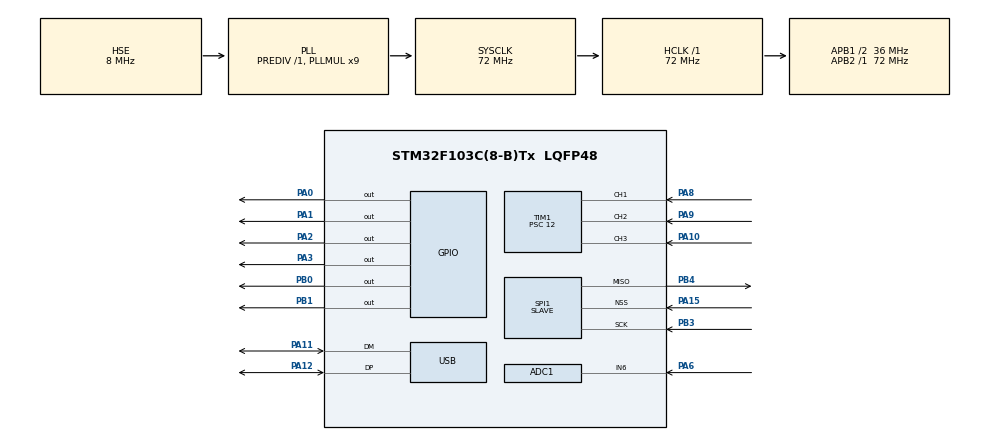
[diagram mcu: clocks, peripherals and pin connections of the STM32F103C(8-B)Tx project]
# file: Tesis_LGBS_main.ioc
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ADC1.Channel-0\#ChannelRegularConversion=ADC_CHANNEL_6
ADC1.ContinuousConvMode=DISABLE
ADC1.ExternalTrigConv=ADC_EXTERNALTRIGCONV_T3_TRGO
ADC1.NbrOfConversion=1
ADC1.NbrOfConversionFlag=1
ADC1.Rank-0\#ChannelRegularConversion=1
ADC1.SamplingTime-0\#ChannelRegularConversion=ADC_SAMPLETIME_1CYCLE_5
ADC1.master=1
Dma.Request0=SPI1_TX
Dma.SPI1_TX.0.Direction=DMA_MEMORY_TO_PERIPH
Dma.SPI1_TX.0.Instance=DMA1_Channel3
Dma.SPI1_TX.0.MemDataAlignment=DMA_MDATAALIGN_HALFWORD
Dma.SPI1_TX.0.MemInc=DMA_MINC_DISABLE
Dma.SPI1_TX.0.Mode=DMA_CIRCULAR
Dma.SPI1_TX.0.PeriphDataAlignment=DMA_PDATAALIGN_HALFWORD
Dma.SPI1_TX.0.PeriphInc=DMA_PINC_DISABLE
Dma.SPI1_TX.0.Priority=DMA_PRIORITY_LOW
Mcu.Family=STM32F1
Mcu.Name=STM32F103C(8-B)Tx
Mcu.Package=LQFP48
NVIC.ADC1_2_IRQn=true\:0\:0\:false\:false\:true\:true\:true\:true
NVIC.DMA1_Channel3_IRQn=true\:0\:0\:false\:false\:true\:false\:true\:true
NVIC.PriorityGroup=NVIC_PRIORITYGROUP_4
NVIC.SPI1_IRQn=true\:0\:0\:false\:false\:true\:true\:true\:true
NVIC.TIM1_CC_IRQn=true\:0\:0\:false\:false\:true\:true\:true\:true
NVIC.TIM1_TRG_COM_IRQn=true\:0\:0\:false\:false\:true\:true\:true\:true
NVIC.TIM1_UP_IRQn=true\:0\:0\:false\:false\:true\:true\:true\:true
NVIC.TIM4_IRQn=true\:0\:0\:false\:false\:true\:true\:true\:true
NVIC.USB_LP_CAN1_RX0_IRQn=true\:0\:0\:false\:false\:true\:false\:true\:true
PA0-WKUP.GPIO_PuPd=GPIO_PULLUP
PA0-WKUP.Signal=GPIO_Output
PA1.GPIO_PuPd=GPIO_PULLUP
PA1.GPIO_Speed=GPIO_SPEED_FREQ_HIGH
PA1.Signal=GPIO_Output
PA10.GPIO_PuPd=GPIO_PULLUP
PA10.Signal=S_TIM1_CH3
PA11.Mode=Device
PA11.Signal=USB_DM
PA12.Mode=Device
PA12.Signal=USB_DP
PA13.Mode=Serial_Wire
PA13.Signal=SYS_JTMS-SWDIO
PA14.Mode=Serial_Wire
PA14.Signal=SYS_JTCK-SWCLK
PA15.Mode=NSS_Signal_Hard_Input
PA15.Signal=SPI1_NSS
PA2.GPIO_PuPd=GPIO_PULLUP
PA2.GPIO_Speed=GPIO_SPEED_FREQ_HIGH
PA2.Signal=GPIO_Output
PA3.GPIO_PuPd=GPIO_PULLUP
PA3.GPIO_Speed=GPIO_SPEED_FREQ_HIGH
PA3.Signal=GPIO_Output
PA6.Signal=ADCx_IN6
PA8.GPIO_PuPd=GPIO_PULLUP
PA8.Signal=S_TIM1_CH1
PA9.GPIO_PuPd=GPIO_PULLUP
PA9.Signal=S_TIM1_CH2
PB0.Signal=GPIO_Output
PB1.Signal=GPIO_Output
PB12.Signal=SPI2_NSS
PB13.Signal=SPI2_SCK
PB14.Signal=SPI2_MISO
PB15.Signal=SPI2_MOSI
PB3.Mode=TX_Only_Simplex_Unidirect_Slave
PB3.Signal=SPI1_SCK
PB4.Mode=TX_Only_Simplex_Unidirect_Slave
PB4.Signal=SPI1_MISO
PB5.Signal=SPI1_MOSI
PB8.Signal=CAN_RX
PB9.Signal=CAN_TX
PD0-OSC_IN.Mode=HSE-External-Oscillator
PD0-OSC_IN.Signal=RCC_OSC_IN
PD1-OSC_OUT.Mode=HSE-External-Oscillator
PD1-OSC_OUT.Signal=RCC_OSC_OUT
ProjectManager.HeapSize=0x200
ProjectManager.StackSize=0x400
ProjectManager.TargetToolchain=STM32CubeIDE
RCC.ADCPresc=RCC_ADCPCLK2_DIV6
RCC.AHBFreq_Value=72000000
RCC.APB1CLKDivider=RCC_HCLK_DIV2
RCC.APB1Freq_Value=36000000
RCC.APB1TimFreq_Value=72000000
RCC.APB2Freq_Value=72000000
RCC.APB2TimFreq_Value=72000000
RCC.HCLKFreq_Value=72000000
RCC.PLLMUL=RCC_PLL_MUL9
RCC.SYSCLKFreq_VALUE=72000000
RCC.SYSCLKSource=RCC_SYSCLKSOURCE_PLLCLK
RCC.USBFreq_Value=48000000
RCC.USBPrescaler=RCC_USBCLKSOURCE_PLL_DIV1_5
SH.ADCx_IN6.0=ADC1_IN6,IN6
SH.S_TIM1_CH1.0=TIM1_CH1,Xored_Inputs_Hall_Sensor_Interface
SH.S_TIM1_CH2.0=TIM1_CH2,Xored_Inputs_Hall_Sensor_Interface
SH.S_TIM1_CH3.0=TIM1_CH3,Xored_Inputs_Hall_Sensor_Interface
SPI1.CLKPhase=SPI_PHASE_2EDGE
SPI1.DataSize=SPI_DATASIZE_16BIT
SPI1.Direction=SPI_DIRECTION_2LINES
SPI1.Mode=SPI_MODE_SLAVE
SPI1.VirtualNSS=VM_NSSHARD
SPI1.VirtualType=VM_SLAVE
TIM1.AutoReloadPreload=TIM_AUTORELOAD_PRELOAD_DISABLE
TIM1.ClockDivision=TIM_CLOCKDIVISION_DIV1
TIM1.IC1Filter=7
TIM1.IC1Prescaler=TIM_ICPSC_DIV1
TIM1.Prescaler=12
TIM3.Channel-PWM\ Generation1\ No\ Output=TIM_CHANNEL_1
TIM3.Period=720
TIM3.Pulse-PWM\ Generation1\ No\ Output=180
TIM3.TIM_MasterOutputTrigger=TIM_TRGO_UPDATE
TIM4.Period=100
TIM4.Prescaler=7200
TIM4.TIM_MasterOutputTrigger=TIM_TRGO_UPDATE
USB_DEVICE.CLASS_NAME_FS=CDC
USB_DEVICE.VirtualMode=Cdc
USB_DEVICE.VirtualModeFS=Cdc_FS
VP_TIM1_VS_ClockSourceINT.Mode=Internal
VP_TIM3_VS_ClockSourceINT.Mode=Internal
VP_TIM3_VS_no_output1.Mode=PWM Generation1 No Output
VP_TIM4_VS_ClockSourceINT.Mode=Internal
VP_USB_DEVICE_VS_USB_DEVICE_CDC_FS.Mode=CDC_FS
board=custom

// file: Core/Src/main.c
/* USER CODE BEGIN Header */
/**
 ******************************************************************************
 * @file           : main.c
 * @brief          : Main program body
 ******************************************************************************
 * @attention
 *
 * Copyright (c) 2025 STMicroelectronics.
 * All rights reserved.
 *
 * This software is licensed under terms that can be found in the LICENSE file
 * in the root directory of this software component.
 * If no LICENSE file comes with this software, it is provided AS-IS.
 *
 ******************************************************************************
 */
/* USER CODE END Header */
#include "main.h"
#include "usb_device.h"

/* USER CODE BEGIN Includes */
#include "usbd_cdc_if.h"
#include "string.h"
#include "CurrentControl.h"
#include "command_control.h"
#include "LUT_comms.h"
#include "stm32f1xx_hal_tim_ex.h"
extern USBD_HandleTypeDef hUsbDeviceFS;
/* USER CODE END Includes */

ADC_HandleTypeDef hadc1;

SPI_HandleTypeDef hspi1;
DMA_HandleTypeDef hdma_spi1_tx;

TIM_HandleTypeDef htim1;
TIM_HandleTypeDef htim3;
TIM_HandleTypeDef htim4;

/* USER CODE BEGIN PV */
uint8_t msg[64];
uint16_t rx_usb_amount;

// CAN_TxHeaderTypeDef TxHeader;
// CAN_RxHeaderTypeDef RxHeader;
// CAN_FilterTypeDef CANFilter;
uint32_t txMail = 0;
uint32_t res = 0;

/* USER CODE END PV */

void SystemClock_Config(void);
static void MX_GPIO_Init(void);
static void MX_DMA_Init(void);
static void MX_SPI1_Init(void);
static void MX_ADC1_Init(void);
static void MX_TIM3_Init(void);
static void MX_TIM1_Init(void);
static void MX_TIM4_Init(void);

int main(void)
{

  /* MCU Configuration--------------------------------------------------------*/

  /* Reset of all peripherals, Initializes the Flash interface and the Systick. */
  HAL_Init();

  /* Configure the system clock */
  SystemClock_Config();

  /* Initialize all configured peripherals */
  MX_GPIO_Init();
  MX_DMA_Init();
  MX_SPI1_Init();
  MX_ADC1_Init();
  MX_TIM3_Init();
  MX_USB_DEVICE_Init();
  MX_TIM1_Init();
  MX_TIM4_Init();
  /* USER CODE BEGIN 2 */

  curr_control_init(&hadc1, &htim3);
  init_LUT_comms(&hspi1);
  HAL_TIMEx_HallSensor_Start_IT(&htim1);
  __HAL_TIM_ENABLE_IT(&htim4, TIM_IT_UPDATE);
  HAL_TIM_Base_Start_IT(&htim4);
  /* USER CODE END 2 */

  /* Infinite loop */
  while (1)
  {

    /* USER CODE BEGIN 3 */
    if (CDC_data_recieved())
    {
      rx_usb_amount = CDC_Receive_data(msg, 64);
      switch ((int)msg[0])
      {
      case 'I':
        command_I(msg, rx_usb_amount);
        break;
      case 'S':
        command_S(msg, rx_usb_amount);
        break;
      case 'O':
		  command_O(msg, rx_usb_amount);
		  break;
      default:
        CDC_Transmit_FS("\nNo reconocido\n", 15);
        while (CDC_Transmit_FS(msg, rx_usb_amount) == USBD_BUSY)
          ;
      }
    }
  }
  /* USER CODE END 3 */
}

void SystemClock_Config(void)
{
  RCC_OscInitTypeDef RCC_OscInitStruct = {0};
  RCC_ClkInitTypeDef RCC_ClkInitStruct = {0};
  RCC_PeriphCLKInitTypeDef PeriphClkInit = {0};

  /** Initializes the RCC Oscillators according to the specified parameters
  * in the RCC_OscInitTypeDef structure.
  */
  RCC_OscInitStruct.OscillatorType = RCC_OSCILLATORTYPE_HSE;
  RCC_OscInitStruct.HSEState = RCC_HSE_ON;
  RCC_OscInitStruct.HSEPredivValue = RCC_HSE_PREDIV_DIV1;
  RCC_OscInitStruct.HSIState = RCC_HSI_ON;
  RCC_OscInitStruct.PLL.PLLState = RCC_PLL_ON;
  RCC_OscInitStruct.PLL.PLLSource = RCC_PLLSOURCE_HSE;
  RCC_OscInitStruct.PLL.PLLMUL = RCC_PLL_MUL9;
  if (HAL_RCC_OscConfig(&RCC_OscInitStruct) != HAL_OK)
  {
    Error_Handler();
  }

  /** Initializes the CPU, AHB and APB buses clocks
  */
  RCC_ClkInitStruct.ClockType = RCC_CLOCKTYPE_HCLK|RCC_CLOCKTYPE_SYSCLK
                              |RCC_CLOCKTYPE_PCLK1|RCC_CLOCKTYPE_PCLK2;
  RCC_ClkInitStruct.SYSCLKSource = RCC_SYSCLKSOURCE_PLLCLK;
  RCC_ClkInitStruct.AHBCLKDivider = RCC_SYSCLK_DIV1;
  RCC_ClkInitStruct.APB1CLKDivider = RCC_HCLK_DIV2;
  RCC_ClkInitStruct.APB2CLKDivider = RCC_HCLK_DIV1;

  if (HAL_RCC_ClockConfig(&RCC_ClkInitStruct, FLASH_LATENCY_2) != HAL_OK)
  {
    Error_Handler();
  }
  PeriphClkInit.PeriphClockSelection = RCC_PERIPHCLK_ADC|RCC_PERIPHCLK_USB;
  PeriphClkInit.AdcClockSelection = RCC_ADCPCLK2_DIV6;
  PeriphClkInit.UsbClockSelection = RCC_USBCLKSOURCE_PLL_DIV1_5;
  if (HAL_RCCEx_PeriphCLKConfig(&PeriphClkInit) != HAL_OK)
  {
    Error_Handler();
  }
}

static void MX_ADC1_Init(void)
{

  ADC_ChannelConfTypeDef sConfig = {0};

  /** Common config
  */
  hadc1.Instance = ADC1;
  hadc1.Init.ScanConvMode = ADC_SCAN_DISABLE;
  hadc1.Init.ContinuousConvMode = DISABLE;
  hadc1.Init.DiscontinuousConvMode = DISABLE;
  hadc1.Init.ExternalTrigConv = ADC_EXTERNALTRIGCONV_T3_TRGO;
  hadc1.Init.DataAlign = ADC_DATAALIGN_RIGHT;
  hadc1.Init.NbrOfConversion = 1;
  if (HAL_ADC_Init(&hadc1) != HAL_OK)
  {
    Error_Handler();
  }

  /** Configure Regular Channel
  */
  sConfig.Channel = ADC_CHANNEL_6;
  sConfig.Rank = ADC_REGULAR_RANK_1;
  sConfig.SamplingTime = ADC_SAMPLETIME_1CYCLE_5;
  if (HAL_ADC_ConfigChannel(&hadc1, &sConfig) != HAL_OK)
  {
    Error_Handler();
  }

}

static void MX_SPI1_Init(void)
{

  /* SPI1 parameter configuration*/
  hspi1.Instance = SPI1;
  hspi1.Init.Mode = SPI_MODE_SLAVE;
  hspi1.Init.Direction = SPI_DIRECTION_2LINES;
  hspi1.Init.DataSize = SPI_DATASIZE_16BIT;
  hspi1.Init.CLKPolarity = SPI_POLARITY_LOW;
  hspi1.Init.CLKPhase = SPI_PHASE_2EDGE;
  hspi1.Init.NSS = SPI_NSS_HARD_INPUT;
  hspi1.Init.FirstBit = SPI_FIRSTBIT_MSB;
  hspi1.Init.TIMode = SPI_TIMODE_DISABLE;
  hspi1.Init.CRCCalculation = SPI_CRCCALCULATION_DISABLE;
  hspi1.Init.CRCPolynomial = 10;
  if (HAL_SPI_Init(&hspi1) != HAL_OK)
  {
    Error_Handler();
  }

}

static void MX_TIM1_Init(void)
{

  TIM_ClockConfigTypeDef sClockSourceConfig = {0};
  TIM_HallSensor_InitTypeDef sConfig = {0};
  TIM_MasterConfigTypeDef sMasterConfig = {0};

  htim1.Instance = TIM1;
  htim1.Init.Prescaler = 12;
  htim1.Init.CounterMode = TIM_COUNTERMODE_UP;
  htim1.Init.Period = 65535;
  htim1.Init.ClockDivision = TIM_CLOCKDIVISION_DIV1;
  htim1.Init.RepetitionCounter = 0;
  htim1.Init.AutoReloadPreload = TIM_AUTORELOAD_PRELOAD_DISABLE;
  if (HAL_TIM_Base_Init(&htim1) != HAL_OK)
  {
    Error_Handler();
  }
  sClockSourceConfig.ClockSource = TIM_CLOCKSOURCE_INTERNAL;
  if (HAL_TIM_ConfigClockSource(&htim1, &sClockSourceConfig) != HAL_OK)
  {
    Error_Handler();
  }
  sConfig.IC1Polarity = TIM_ICPOLARITY_RISING;
  sConfig.IC1Prescaler = TIM_ICPSC_DIV1;
  sConfig.IC1Filter = 7;
  sConfig.Commutation_Delay = 0;
  if (HAL_TIMEx_HallSensor_Init(&htim1, &sConfig) != HAL_OK)
  {
    Error_Handler();
  }
  sMasterConfig.MasterOutputTrigger = TIM_TRGO_OC2REF;
  sMasterConfig.MasterSlaveMode = TIM_MASTERSLAVEMODE_DISABLE;
  if (HAL_TIMEx_MasterConfigSynchronization(&htim1, &sMasterConfig) != HAL_OK)
  {
    Error_Handler();
  }

}

static void MX_TIM3_Init(void)
{

  TIM_ClockConfigTypeDef sClockSourceConfig = {0};
  TIM_MasterConfigTypeDef sMasterConfig = {0};
  TIM_OC_InitTypeDef sConfigOC = {0};

  htim3.Instance = TIM3;
  htim3.Init.Prescaler = 0;
  htim3.Init.CounterMode = TIM_COUNTERMODE_UP;
  htim3.Init.Period = 720;
  htim3.Init.ClockDivision = TIM_CLOCKDIVISION_DIV1;
  htim3.Init.AutoReloadPreload = TIM_AUTORELOAD_PRELOAD_DISABLE;
  if (HAL_TIM_Base_Init(&htim3) != HAL_OK)
  {
    Error_Handler();
  }
  sClockSourceConfig.ClockSource = TIM_CLOCKSOURCE_INTERNAL;
  if (HAL_TIM_ConfigClockSource(&htim3, &sClockSourceConfig) != HAL_OK)
  {
    Error_Handler();
  }
  if (HAL_TIM_PWM_Init(&htim3) != HAL_OK)
  {
    Error_Handler();
  }
  sMasterConfig.MasterOutputTrigger = TIM_TRGO_UPDATE;
  sMasterConfig.MasterSlaveMode = TIM_MASTERSLAVEMODE_DISABLE;
  if (HAL_TIMEx_MasterConfigSynchronization(&htim3, &sMasterConfig) != HAL_OK)
  {
    Error_Handler();
  }
  sConfigOC.OCMode = TIM_OCMODE_PWM1;
  sConfigOC.Pulse = 180;
  sConfigOC.OCPolarity = TIM_OCPOLARITY_HIGH;
  sConfigOC.OCFastMode = TIM_OCFAST_DISABLE;
  if (HAL_TIM_PWM_ConfigChannel(&htim3, &sConfigOC, TIM_CHANNEL_1) != HAL_OK)
  {
    Error_Handler();
  }

}

static void MX_TIM4_Init(void)
{

  TIM_ClockConfigTypeDef sClockSourceConfig = {0};
  TIM_MasterConfigTypeDef sMasterConfig = {0};

  htim4.Instance = TIM4;
  htim4.Init.Prescaler = 7200;
  htim4.Init.CounterMode = TIM_COUNTERMODE_UP;
  htim4.Init.Period = 100;
  htim4.Init.ClockDivision = TIM_CLOCKDIVISION_DIV1;
  htim4.Init.AutoReloadPreload = TIM_AUTORELOAD_PRELOAD_DISABLE;
  if (HAL_TIM_Base_Init(&htim4) != HAL_OK)
  {
    Error_Handler();
  }
  sClockSourceConfig.ClockSource = TIM_CLOCKSOURCE_INTERNAL;
  if (HAL_TIM_ConfigClockSource(&htim4, &sClockSourceConfig) != HAL_OK)
  {
    Error_Handler();
  }
  sMasterConfig.MasterOutputTrigger = TIM_TRGO_UPDATE;
  sMasterConfig.MasterSlaveMode = TIM_MASTERSLAVEMODE_DISABLE;
  if (HAL_TIMEx_MasterConfigSynchronization(&htim4, &sMasterConfig) != HAL_OK)
  {
    Error_Handler();
  }

}

static void MX_DMA_Init(void)
{

  /* DMA controller clock enable */
  __HAL_RCC_DMA1_CLK_ENABLE();

  /* DMA interrupt init */
  /* DMA1_Channel3_IRQn interrupt configuration */
  HAL_NVIC_SetPriority(DMA1_Channel3_IRQn, 0, 0);
  HAL_NVIC_EnableIRQ(DMA1_Channel3_IRQn);

}

static void MX_GPIO_Init(void)
{
  GPIO_InitTypeDef GPIO_InitStruct = {0};

  /* GPIO Ports Clock Enable */
  __HAL_RCC_GPIOD_CLK_ENABLE();
  __HAL_RCC_GPIOA_CLK_ENABLE();
  __HAL_RCC_GPIOB_CLK_ENABLE();

  /*Configure GPIO pin Output Level */
  HAL_GPIO_WritePin(GPIOA, GPIO_PIN_0|GPIO_PIN_1|GPIO_PIN_2|GPIO_PIN_3, GPIO_PIN_RESET);

  /*Configure GPIO pin Output Level */
  HAL_GPIO_WritePin(GPIOB, GPIO_PIN_0|GPIO_PIN_1, GPIO_PIN_RESET);

  /*Configure GPIO pin : PA0 */
  GPIO_InitStruct.Pin = GPIO_PIN_0;
  GPIO_InitStruct.Mode = GPIO_MODE_OUTPUT_PP;
  GPIO_InitStruct.Pull = GPIO_PULLUP;
  GPIO_InitStruct.Speed = GPIO_SPEED_FREQ_LOW;
  HAL_GPIO_Init(GPIOA, &GPIO_InitStruct);

  /*Configure GPIO pins : PA1 PA2 PA3 */
  GPIO_InitStruct.Pin = GPIO_PIN_1|GPIO_PIN_2|GPIO_PIN_3;
  GPIO_InitStruct.Mode = GPIO_MODE_OUTPUT_PP;
  GPIO_InitStruct.Pull = GPIO_PULLUP;
  GPIO_InitStruct.Speed = GPIO_SPEED_FREQ_HIGH;
  HAL_GPIO_Init(GPIOA, &GPIO_InitStruct);

  /*Configure GPIO pins : PB0 PB1 */
  GPIO_InitStruct.Pin = GPIO_PIN_0|GPIO_PIN_1;
  GPIO_InitStruct.Mode = GPIO_MODE_OUTPUT_PP;
  GPIO_InitStruct.Pull = GPIO_NOPULL;
  GPIO_InitStruct.Speed = GPIO_SPEED_FREQ_LOW;
  HAL_GPIO_Init(GPIOB, &GPIO_InitStruct);

  /*Configure GPIO pins : PB12 PB13 PB14 PB15
                           PB9 */
  GPIO_InitStruct.Pin = GPIO_PIN_12|GPIO_PIN_13|GPIO_PIN_14|GPIO_PIN_15
                          |GPIO_PIN_9;
  GPIO_InitStruct.Mode = GPIO_MODE_AF_PP;
  GPIO_InitStruct.Speed = GPIO_SPEED_FREQ_HIGH;
  HAL_GPIO_Init(GPIOB, &GPIO_InitStruct);

  /*Configure GPIO pin : PB8 */
  GPIO_InitStruct.Pin = GPIO_PIN_8;
  GPIO_InitStruct.Mode = GPIO_MODE_INPUT;
  GPIO_InitStruct.Pull = GPIO_NOPULL;
  HAL_GPIO_Init(GPIOB, &GPIO_InitStruct);

  /*Configure peripheral I/O remapping */
  __HAL_AFIO_REMAP_CAN1_2();

}

void Error_Handler(void)
{
  __disable_irq();
  while (1)
  {
  }
}
